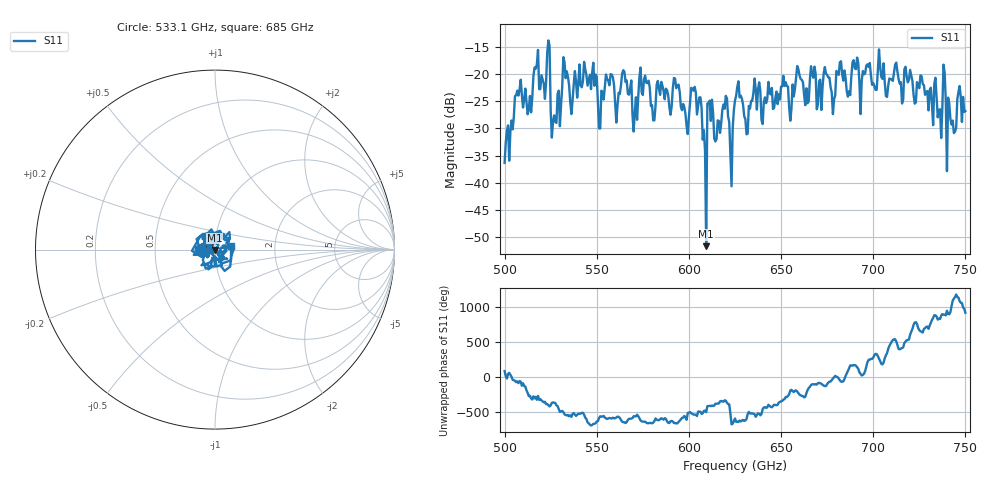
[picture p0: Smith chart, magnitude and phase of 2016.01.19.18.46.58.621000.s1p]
!Created with skrf (http://scikit-rf.org).
# GHz S RI R 50.0
!freq ReS11 ImS11
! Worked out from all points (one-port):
!   401 points, 500 GHz to 750 GHz, reference 50 ohm
!   lowest |S11| = -51.6 dB at 609.4 GHz (marker M1), VSWR 1.01, Z = 49.8 - j0.157 ohm
!   |S11| at or under -10 dB: start of sweep to end of sweep
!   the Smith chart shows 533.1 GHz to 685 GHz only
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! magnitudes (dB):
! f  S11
! 500 GHz  -36.3
! 507.5 GHz  -24.0
! 513.8 GHz  -24.1
! 516.9 GHz  -19.1
! 523.8 GHz  -13.9
! 526.9 GHz  -27.6
! 531.2 GHz  -22.4
! 562.5 GHz  -23.7
! 570.6 GHz  -27.1
! 574.4 GHz  -23.4
! 580.6 GHz  -28.6
! 593.8 GHz  -22.2
! 598.8 GHz  -29.6
! 602.5 GHz  -23.1
! 609.4 GHz  -51.6
! 611.2 GHz  -24.9
! 615 GHz  -32.0
! 620 GHz  -24.0
! 622.5 GHz  -34.8
! 625 GHz  -24.9
! 656.2 GHz  -22.0
! 659.4 GHz  -19.1
! 663.8 GHz  -22.7
! 667.5 GHz  -20.7
! 687.5 GHz  -23.9
! 718.8 GHz  -21.6
! 743.8 GHz  -30.9
! 750 GHz  -26.8
